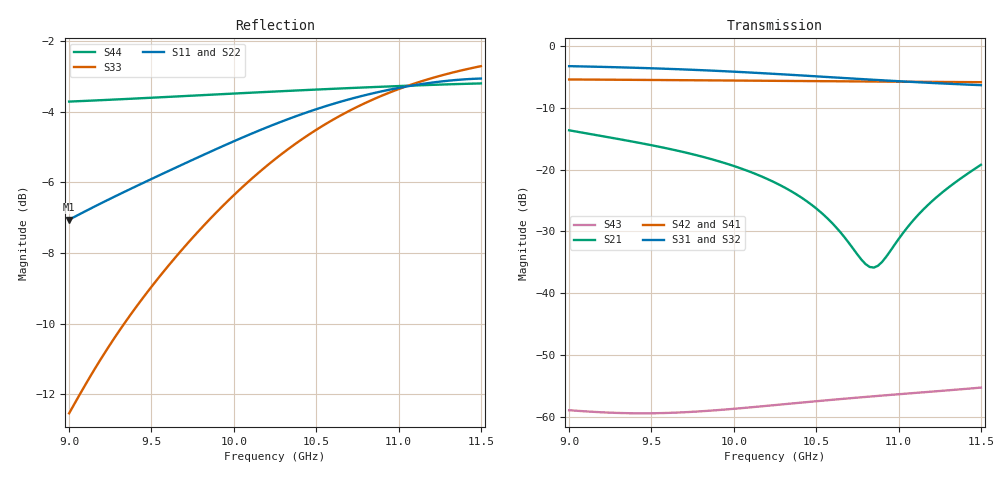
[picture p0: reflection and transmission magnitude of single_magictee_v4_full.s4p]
! Generated from PyAEDT SolutionData; AEDT ExportNetworkData workaround
# GHz S MA R 50
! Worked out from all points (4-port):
!   101 points, 9 GHz to 11.5 GHz, reference 50 ohm
!   strongest paths, dB at 9 GHz, 9.625 GHz, 10.25 GHz, 10.88 GHz, 11.5 GHz:
!     S31: -3.3, -3.7, -4.5, -5.5, -6.3
!     S32: -3.3, -3.7, -4.5, -5.5, -6.3
!     S42: -5.4, -5.5, -5.6, -5.7, -5.8
!     S41: -5.4, -5.5, -5.6, -5.7, -5.8
!     S21: -13.6, -16.7, -22.1, -35.6, -19.2
!     S43: -59.0, -59.4, -58.1, -56.7, -55.3
!   lowest |S11| = -7.1 dB at 9 GHz (marker M1), VSWR 2.59, Z = 71.2 + j55.1 ohm
!   |S11| at or under -10 dB: nowhere
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9  0.4437 44.5  0.208 -133.5  0.6875 -73.0  0.536 36.7
   0.208 -133.5  0.4441 44.4  0.6868 -72.9  0.5365 -143.1
   0.6875 -73.0  0.6868 -72.9  0.2361 -8.6  0.001126 8.3
   0.536 36.7  0.5365 -143.1  0.001126 8.3  0.6518 -151.6
9.525  0.5098 -15.3  0.1551 149.2  0.6592 -172.9  0.5306 -20.3
       0.1551 149.2  0.5098 -15.4  0.6587 -172.9  0.5312 159.9
       0.6592 -172.9  0.6587 -172.9  0.3627 -157.0  0.001065 -79.9
       0.5306 -20.3  0.5312 159.9  0.001065 -79.9  0.6605 158.5
10.025  0.5761 -72.8  0.1041 79.0  0.6179 96.9  0.5249 -72.4
        0.1041 79.0  0.5758 -72.8  0.6175 97.0  0.5256 107.7
        0.6179 96.9  0.6175 97.0  0.4867 80.9  0.001163 -161.0
        0.5249 -72.4  0.5256 107.7  0.001163 -161.0  0.6695 112.4
10.425  0.6271 -119.4  0.05755 28.7  0.5767 27.9  0.5204 -113.0
        0.05755 28.7  0.6269 -119.5  0.5764 27.9  0.521 67.1
        0.5767 27.9  0.5764 27.9  0.5789 -7.8  0.001303 131.7
        0.5204 -113.0  0.521 67.1  0.001303 131.7  0.6766 76.1
10.85  0.6701 -169.5  0.01608 45.5  0.5333 -42.9  0.5161 -155.4
       0.01608 45.5  0.6703 -169.6  0.5328 -42.9  0.5163 24.6
       0.5333 -42.9  0.5328 -42.9  0.6571 -95.4  0.00146 58.2
       0.5161 -155.4  0.5163 24.6  0.00146 58.2  0.6834 38.0
11.2  0.6932 148.7  0.05491 66.5  0.503 -100.0  0.5132 169.9
      0.05491 66.5  0.694 148.5  0.5024 -100.0  0.5128 -10.0
      0.503 -100.0  0.5024 -100.0  0.7033 -164.2  0.001591 -3.2
      0.5132 169.9  0.5128 -10.0  0.001591 -3.2  0.6883 6.8
11.5  0.7026 111.7  0.1093 32.3  0.4826 -149.3  0.5114 140.3
      0.1093 32.3  0.7041 111.5  0.4817 -149.3  0.5101 -39.7
      0.4826 -149.3  0.4817 -149.3  0.7315 138.3  0.001716 -57.0
      0.5114 140.3  0.5101 -39.7  0.001716 -57.0  0.6915 -19.9
